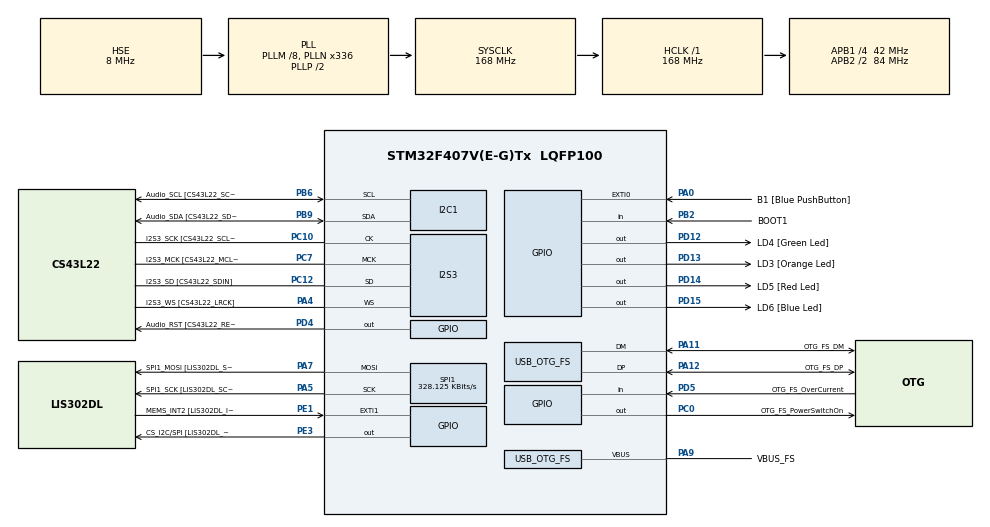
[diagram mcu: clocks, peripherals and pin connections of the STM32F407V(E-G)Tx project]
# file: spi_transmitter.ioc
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I2S3.AudioFreq-Half_Duplex_Master=I2S_AUDIOFREQ_96K
I2S3.ErrorAudioFreq=-2.34 %
I2S3.ErrorAudioFreq-Half_Duplex_Master=0.8 %
I2S3.FullDuplexMode=I2S_FULLDUPLEXMODE_DISABLE
I2S3.Instance=SPI$Index
I2S3.RealAudioFreq=93.75 KHz
I2S3.RealAudioFreq-Half_Duplex_Master=96.774 KHz
I2S3.VirtualMode=I2S_MODE_MASTER
Mcu.Family=STM32F4
Mcu.Name=STM32F407V(E-G)Tx
Mcu.Package=LQFP100
NVIC.OTG_FS_IRQn=true\:0\:0\:false\:false\:true\:true\:true
NVIC.PriorityGroup=NVIC_PRIORITYGROUP_0
NVIC.SPI1_IRQn=true\:0\:0\:false\:false\:true\:true\:true
PA0-WKUP.GPIO_Label=B1 [Blue PushButton]
PA0-WKUP.GPIO_ModeDefaultEXTI=GPIO_MODE_EVT_RISING
PA0-WKUP.GPIO_PuPd=GPIO_NOPULL
PA0-WKUP.Signal=GPXTI0
PA10.GPIO_Label=OTG_FS_ID
PA10.GPIO_Mode=GPIO_MODE_AF_PP
PA10.GPIO_PuPd=GPIO_NOPULL
PA10.GPIO_Speed=GPIO_SPEED_FREQ_LOW
PA10.Signal=USB_OTG_FS_ID
PA11.GPIO_Label=OTG_FS_DM
PA11.GPIO_Mode=GPIO_MODE_AF_PP
PA11.GPIO_PuPd=GPIO_NOPULL
PA11.GPIO_Speed=GPIO_SPEED_FREQ_LOW
PA11.Mode=Host_Only
PA11.Signal=USB_OTG_FS_DM
PA12.GPIO_Label=OTG_FS_DP
PA12.GPIO_Mode=GPIO_MODE_AF_PP
PA12.GPIO_PuPd=GPIO_NOPULL
PA12.GPIO_Speed=GPIO_SPEED_FREQ_LOW
PA12.Mode=Host_Only
PA12.Signal=USB_OTG_FS_DP
PA13.GPIO_Label=SWDIO
PA13.Mode=Serial_Wire
PA13.Signal=SYS_JTMS-SWDIO
PA14.GPIO_Label=SWCLK
PA14.Mode=Serial_Wire
PA14.Signal=SYS_JTCK-SWCLK
PA4.GPIO_Label=I2S3_WS [CS43L22_LRCK]
PA4.GPIO_Mode=GPIO_MODE_AF_PP
PA4.GPIO_PuPd=GPIO_NOPULL
PA4.GPIO_Speed=GPIO_SPEED_FREQ_LOW
PA4.Mode=Half_Duplex_Master
PA4.Signal=I2S3_WS
PA5.GPIO_Label=SPI1_SCK [LIS302DL_SCL/SPC]
PA5.GPIO_Mode=GPIO_MODE_AF_PP
PA5.GPIO_PuPd=GPIO_NOPULL
PA5.GPIO_Speed=GPIO_SPEED_FREQ_LOW
PA5.Mode=TX_Only_Simplex_Unidirect_Master
PA5.Signal=SPI1_SCK
PA6.GPIO_Label=SPI1_MISO [LIS302DL_SDO]
PA6.GPIO_Mode=GPIO_MODE_AF_PP
PA6.GPIO_PuPd=GPIO_NOPULL
PA6.GPIO_Speed=GPIO_SPEED_FREQ_LOW
PA6.Signal=SPI1_MISO
PA7.GPIO_Label=SPI1_MOSI [LIS302DL_SDA/SDI/SDO]
PA7.GPIO_Mode=GPIO_MODE_AF_PP
PA7.GPIO_PuPd=GPIO_NOPULL
PA7.GPIO_Speed=GPIO_SPEED_FREQ_LOW
PA7.Mode=TX_Only_Simplex_Unidirect_Master
PA7.Signal=SPI1_MOSI
PA9.GPIO_Label=VBUS_FS
PA9.GPIO_Mode=GPIO_MODE_INPUT
PA9.GPIO_PuPd=GPIO_NOPULL
PA9.Mode=Activate_VBUS
PA9.Signal=USB_OTG_FS_VBUS
PB10.GPIO_Label=CLK_IN [MP45DT02_CLK]
PB10.GPIO_Mode=GPIO_MODE_AF_PP
PB10.GPIO_PuPd=GPIO_NOPULL
PB10.GPIO_Speed=GPIO_SPEED_FREQ_LOW
PB10.Signal=I2S2_CK
PB2.GPIO_Label=BOOT1
PB2.GPIO_Mode=GPIO_MODE_INPUT
PB2.GPIO_PuPd=GPIO_NOPULL
PB2.Signal=GPIO_Input
PB3.GPIO_Label=SWO
PB3.Signal=SYS_JTDO-SWO
PB6.GPIO_Label=Audio_SCL [CS43L22_SCL]
PB6.GPIO_Mode=GPIO_MODE_AF_OD
PB6.GPIO_Pu=GPIO_PULLUP
PB6.GPIO_PuPd=GPIO_NOPULL
PB6.GPIO_Speed=GPIO_SPEED_FREQ_LOW
PB6.Mode=I2C
PB6.Signal=I2C1_SCL
PB9.GPIO_Label=Audio_SDA [CS43L22_SDA]
PB9.GPIO_Mode=GPIO_MODE_AF_OD
PB9.GPIO_Pu=GPIO_PULLUP
PB9.GPIO_PuPd=GPIO_NOPULL
PB9.GPIO_Speed=GPIO_SPEED_FREQ_LOW
PB9.Mode=I2C
PB9.Signal=I2C1_SDA
PC0.GPIO_Label=OTG_FS_PowerSwitchOn
PC0.GPIO_PuPd=GPIO_NOPULL
PC0.GPIO_Speed=GPIO_SPEED_FREQ_LOW
PC0.PinState=GPIO_PIN_SET
PC0.Signal=GPIO_Output
PC10.GPIO_Label=I2S3_SCK [CS43L22_SCLK]
PC10.GPIO_Mode=GPIO_MODE_AF_PP
PC10.GPIO_PuPd=GPIO_NOPULL
PC10.GPIO_Speed=GPIO_SPEED_FREQ_LOW
PC10.Mode=Half_Duplex_Master
PC10.Signal=I2S3_CK
PC12.GPIO_Label=I2S3_SD [CS43L22_SDIN]
PC12.GPIO_Mode=GPIO_MODE_AF_PP
PC12.GPIO_PuPd=GPIO_NOPULL
PC12.GPIO_Speed=GPIO_SPEED_FREQ_LOW
PC12.Mode=Half_Duplex_Master
PC12.Signal=I2S3_SD
PC14-OSC32_IN.GPIO_Label=PC14-OSC32_IN
PC14-OSC32_IN.Mode=LSE-External-Oscillator
PC14-OSC32_IN.Signal=RCC_OSC32_IN
PC15-OSC32_OUT.GPIO_Label=PC15-OSC32_OUT
PC15-OSC32_OUT.Mode=LSE-External-Oscillator
PC15-OSC32_OUT.Signal=RCC_OSC32_OUT
PC3.GPIO_Label=PDM_OUT [MP45DT02_DOUT]
PC3.GPIO_Mode=GPIO_MODE_AF_PP
PC3.GPIO_PuPd=GPIO_NOPULL
PC3.GPIO_Speed=GPIO_SPEED_FREQ_LOW
PC3.Signal=I2S2_SD
PC7.GPIO_Label=I2S3_MCK [CS43L22_MCLK]
PC7.GPIO_Mode=GPIO_MODE_AF_PP
PC7.GPIO_PuPd=GPIO_NOPULL
PC7.GPIO_Speed=GPIO_SPEED_FREQ_LOW
PC7.Mode=Master_Clock_Activated
PC7.Signal=I2S3_MCK
PD12.GPIO_Label=LD4 [Green Led]
PD12.GPIO_PuPd=GPIO_NOPULL
PD12.GPIO_Speed=GPIO_SPEED_FREQ_LOW
PD12.Signal=GPIO_Output
PD13.GPIO_Label=LD3 [Orange Led]
PD13.GPIO_PuPd=GPIO_NOPULL
PD13.GPIO_Speed=GPIO_SPEED_FREQ_LOW
PD13.Signal=GPIO_Output
PD14.GPIO_Label=LD5 [Red Led]
PD14.GPIO_PuPd=GPIO_NOPULL
PD14.GPIO_Speed=GPIO_SPEED_FREQ_LOW
PD14.Signal=GPIO_Output
PD15.GPIO_Label=LD6 [Blue Led]
PD15.GPIO_PuPd=GPIO_NOPULL
PD15.GPIO_Speed=GPIO_SPEED_FREQ_LOW
PD15.Signal=GPIO_Output
PD4.GPIO_Label=Audio_RST [CS43L22_RESET]
PD4.GPIO_PuPd=GPIO_NOPULL
PD4.GPIO_Speed=GPIO_SPEED_FREQ_LOW
PD4.Signal=GPIO_Output
PD5.GPIO_Label=OTG_FS_OverCurrent
PD5.GPIO_Mode=GPIO_MODE_INPUT
PD5.GPIO_PuPd=GPIO_NOPULL
PD5.Signal=GPIO_Input
PE1.GPIO_Label=MEMS_INT2 [LIS302DL_INT2]
PE1.GPIO_ModeDefaultEXTI=GPIO_MODE_EVT_RISING
PE1.GPIO_PuPd=GPIO_NOPULL
PE1.Signal=GPXTI1
PE3.GPIO_Label=CS_I2C/SPI [LIS302DL_CS_I2C/SPI]
PE3.GPIO_PuPd=GPIO_NOPULL
PE3.GPIO_Speed=GPIO_SPEED_FREQ_LOW
PE3.Signal=GPIO_Output
PH0-OSC_IN.GPIO_Label=PH0-OSC_IN
PH0-OSC_IN.Mode=HSE-External-Oscillator
PH0-OSC_IN.Signal=RCC_OSC_IN
PH1-OSC_OUT.GPIO_Label=PH1-OSC_OUT
PH1-OSC_OUT.Mode=HSE-External-Oscillator
PH1-OSC_OUT.Signal=RCC_OSC_OUT
ProjectManager.HeapSize=0x200
ProjectManager.StackSize=0x400
ProjectManager.TargetToolchain=MDK-ARM V5.32
RCC.48MHZClocksFreq_Value=48000000
RCC.AHBFreq_Value=168000000
RCC.APB1CLKDivider=RCC_HCLK_DIV4
RCC.APB1Freq_Value=42000000
RCC.APB1TimFreq_Value=84000000
RCC.APB2CLKDivider=RCC_HCLK_DIV2
RCC.APB2Freq_Value=84000000
RCC.APB2TimFreq_Value=168000000
RCC.CortexFreq_Value=168000000
RCC.HCLKFreq_Value=168000000
RCC.HSE_VALUE=8000000
RCC.HSI_VALUE=16000000
RCC.PLLM=8
RCC.PLLN=336
RCC.PLLQ=7
RCC.SYSCLKFreq_VALUE=168000000
RCC.SYSCLKSource=RCC_SYSCLKSOURCE_PLLCLK
RCC.VCOOutputFreq_Value=336000000
SPI1.BaudRatePrescaler=SPI_BAUDRATEPRESCALER_256
SPI1.CalculateBaudRate=328.125 KBits/s
SPI1.Direction=SPI_DIRECTION_2LINES
SPI1.Mode=SPI_MODE_MASTER
SPI1.VirtualType=VM_MASTER
USB_HOST.BSP.number=1
USB_HOST.USBH_HandleTypeDef-CDC_FS=hUsbHostFS
USB_HOST.VirtualModeFS=Cdc
USB_HOST0.BSP.STBoard=false
USB_HOST0.BSP.api=Unknown
USB_HOST0.BSP.i2caddr=0
USB_HOST0.BSP.i2creg=0
USB_HOST0.BSP.instance=PC0
USB_HOST0.BSP.ip=GPIO
USB_HOST0.BSP.mode=Output
USB_HOST0.BSP.name=Drive_VBUS_FS
USB_HOST0.BSP.solution=PC0
USB_OTG_FS.VirtualMode=Host_Only
USB_OTG_FS.phy_itface=HCD_PHY_EMBEDDED
VP_USB_HOST_VS_USB_HOST_CDC_FS.Mode=CDC_FS
board=STM32F407G-DISC1

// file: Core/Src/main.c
/* USER CODE BEGIN Header */
/**
  ******************************************************************************
  * @file           : main.c
  * @brief          : Main program body
  ******************************************************************************
  * @attention
  *
  * <h2><center>&copy; Copyright (c) 2021 STMicroelectronics.
  * All rights reserved.</center></h2>
  *
  * This software component is licensed by ST under Ultimate Liberty license
  * SLA0044, the "License"; You may not use this file except in compliance with
  * the License. You may obtain a copy of the License at:
  *                             www.st.com/SLA0044
  *
  ******************************************************************************
  */
/* USER CODE END Header */
#include "main.h"
#include "usb_host.h"

/* USER CODE BEGIN PM */

#define SPI_FREE 0
#define SPI_BUSY 1

/* USER CODE END PM */

I2C_HandleTypeDef hi2c1;

I2S_HandleTypeDef hi2s3;

SPI_HandleTypeDef hspi1;

void SystemClock_Config(void);
static void MX_GPIO_Init(void);
static void MX_I2C1_Init(void);
static void MX_I2S3_Init(void);
static void MX_SPI1_Init(void);
void MX_USB_HOST_Process(void);

/* USER CODE BEGIN 0 */

  HAL_StatusTypeDef spiTransmitStatus;

  uint8_t SPI_transmitt_array1[] = {0x01, 0x02,0x03,0x04, 0x05};

  uint8_t SPI_transmitt_array2[] = {0x06, 0x07,0x08,0x09, 0x0A};

  HAL_StatusTypeDef spiTransmitStatus;

  uint8_t spi_busy_flag  = SPI_FREE;

/* USER CODE END 0 */

int main(void)
{

  /* MCU Configuration--------------------------------------------------------*/

  /* Reset of all peripherals, Initializes the Flash interface and the Systick. */
  HAL_Init();

  /* Configure the system clock */
  SystemClock_Config();

  /* Initialize all configured peripherals */
  MX_GPIO_Init();
  MX_I2C1_Init();
  MX_I2S3_Init();
  MX_SPI1_Init();
  MX_USB_HOST_Init();

  /* Infinite loop */
  /* USER CODE BEGIN WHILE */
  while (1)
  {

		/* ****************************************************************************** */

	 HAL_Delay(500);

		spi_busy_flag  = SPI_BUSY;

		spiTransmitStatus =  HAL_SPI_Transmit_IT(&hspi1, (uint8_t *)SPI_transmitt_array1,5);

      while(spi_busy_flag == SPI_BUSY)
		   {
         HAL_Delay(1);
       }

		/* ****************************************************************************** */

		HAL_Delay(500);

		spi_busy_flag  = SPI_BUSY;

		spiTransmitStatus =  HAL_SPI_Transmit_IT(&hspi1, (uint8_t *)SPI_transmitt_array2,5);

      while(spi_busy_flag == SPI_BUSY)
		   {
         HAL_Delay(1);
       }

    /* USER CODE END WHILE */
    //MX_USB_HOST_Process();

  }
}

void SystemClock_Config(void)
{
  RCC_OscInitTypeDef RCC_OscInitStruct = {0};
  RCC_ClkInitTypeDef RCC_ClkInitStruct = {0};

  /** Configure the main internal regulator output voltage
  */
  __HAL_RCC_PWR_CLK_ENABLE();
  __HAL_PWR_VOLTAGESCALING_CONFIG(PWR_REGULATOR_VOLTAGE_SCALE1);
  /** Initializes the RCC Oscillators according to the specified parameters
  * in the RCC_OscInitTypeDef structure.
  */
  RCC_OscInitStruct.OscillatorType = RCC_OSCILLATORTYPE_HSE;
  RCC_OscInitStruct.HSEState = RCC_HSE_ON;
  RCC_OscInitStruct.PLL.PLLState = RCC_PLL_ON;
  RCC_OscInitStruct.PLL.PLLSource = RCC_PLLSOURCE_HSE;
  RCC_OscInitStruct.PLL.PLLM = 8;
  RCC_OscInitStruct.PLL.PLLN = 336;
  RCC_OscInitStruct.PLL.PLLP = RCC_PLLP_DIV2;
  RCC_OscInitStruct.PLL.PLLQ = 7;
  if (HAL_RCC_OscConfig(&RCC_OscInitStruct) != HAL_OK)
  {
    Error_Handler();
  }
  /** Initializes the CPU, AHB and APB buses clocks
  */
  RCC_ClkInitStruct.ClockType = RCC_CLOCKTYPE_HCLK|RCC_CLOCKTYPE_SYSCLK
                              |RCC_CLOCKTYPE_PCLK1|RCC_CLOCKTYPE_PCLK2;
  RCC_ClkInitStruct.SYSCLKSource = RCC_SYSCLKSOURCE_PLLCLK;
  RCC_ClkInitStruct.AHBCLKDivider = RCC_SYSCLK_DIV1;
  RCC_ClkInitStruct.APB1CLKDivider = RCC_HCLK_DIV4;
  RCC_ClkInitStruct.APB2CLKDivider = RCC_HCLK_DIV2;

  if (HAL_RCC_ClockConfig(&RCC_ClkInitStruct, FLASH_LATENCY_5) != HAL_OK)
  {
    Error_Handler();
  }
}

static void MX_I2C1_Init(void)
{

  hi2c1.Instance = I2C1;
  hi2c1.Init.ClockSpeed = 100000;
  hi2c1.Init.DutyCycle = I2C_DUTYCYCLE_2;
  hi2c1.Init.OwnAddress1 = 0;
  hi2c1.Init.AddressingMode = I2C_ADDRESSINGMODE_7BIT;
  hi2c1.Init.DualAddressMode = I2C_DUALADDRESS_DISABLE;
  hi2c1.Init.OwnAddress2 = 0;
  hi2c1.Init.GeneralCallMode = I2C_GENERALCALL_DISABLE;
  hi2c1.Init.NoStretchMode = I2C_NOSTRETCH_DISABLE;
  if (HAL_I2C_Init(&hi2c1) != HAL_OK)
  {
    Error_Handler();
  }

}

static void MX_I2S3_Init(void)
{

  hi2s3.Instance = SPI3;
  hi2s3.Init.Mode = I2S_MODE_MASTER_TX;
  hi2s3.Init.Standard = I2S_STANDARD_PHILIPS;
  hi2s3.Init.DataFormat = I2S_DATAFORMAT_16B;
  hi2s3.Init.MCLKOutput = I2S_MCLKOUTPUT_ENABLE;
  hi2s3.Init.AudioFreq = I2S_AUDIOFREQ_96K;
  hi2s3.Init.CPOL = I2S_CPOL_LOW;
  hi2s3.Init.ClockSource = I2S_CLOCK_PLL;
  hi2s3.Init.FullDuplexMode = I2S_FULLDUPLEXMODE_DISABLE;
  if (HAL_I2S_Init(&hi2s3) != HAL_OK)
  {
    Error_Handler();
  }

}

static void MX_SPI1_Init(void)
{

  /* SPI1 parameter configuration*/
  hspi1.Instance = SPI1;
  hspi1.Init.Mode = SPI_MODE_MASTER;
  hspi1.Init.Direction = SPI_DIRECTION_2LINES;
  hspi1.Init.DataSize = SPI_DATASIZE_8BIT;
  hspi1.Init.CLKPolarity = SPI_POLARITY_LOW;
  hspi1.Init.CLKPhase = SPI_PHASE_1EDGE;
  hspi1.Init.NSS = SPI_NSS_SOFT;
  hspi1.Init.BaudRatePrescaler = SPI_BAUDRATEPRESCALER_256;
  hspi1.Init.FirstBit = SPI_FIRSTBIT_MSB;
  hspi1.Init.TIMode = SPI_TIMODE_DISABLE;
  hspi1.Init.CRCCalculation = SPI_CRCCALCULATION_DISABLE;
  hspi1.Init.CRCPolynomial = 10;
  if (HAL_SPI_Init(&hspi1) != HAL_OK)
  {
    Error_Handler();
  }

}

static void MX_GPIO_Init(void)
{
  GPIO_InitTypeDef GPIO_InitStruct = {0};

  /* GPIO Ports Clock Enable */
  __HAL_RCC_GPIOE_CLK_ENABLE();
  __HAL_RCC_GPIOC_CLK_ENABLE();
  __HAL_RCC_GPIOH_CLK_ENABLE();
  __HAL_RCC_GPIOA_CLK_ENABLE();
  __HAL_RCC_GPIOB_CLK_ENABLE();
  __HAL_RCC_GPIOD_CLK_ENABLE();

  /*Configure GPIO pin Output Level */
  HAL_GPIO_WritePin(CS_I2C_SPI_GPIO_Port, CS_I2C_SPI_Pin, GPIO_PIN_RESET);

  /*Configure GPIO pin Output Level */
  HAL_GPIO_WritePin(OTG_FS_PowerSwitchOn_GPIO_Port, OTG_FS_PowerSwitchOn_Pin, GPIO_PIN_SET);

  /*Configure GPIO pin Output Level */
  HAL_GPIO_WritePin(GPIOD, LD4_Pin|LD3_Pin|LD5_Pin|LD6_Pin
                          |Audio_RST_Pin, GPIO_PIN_RESET);

  /*Configure GPIO pin : CS_I2C_SPI_Pin */
  GPIO_InitStruct.Pin = CS_I2C_SPI_Pin;
  GPIO_InitStruct.Mode = GPIO_MODE_OUTPUT_PP;
  GPIO_InitStruct.Pull = GPIO_NOPULL;
  GPIO_InitStruct.Speed = GPIO_SPEED_FREQ_LOW;
  HAL_GPIO_Init(CS_I2C_SPI_GPIO_Port, &GPIO_InitStruct);

  /*Configure GPIO pin : OTG_FS_PowerSwitchOn_Pin */
  GPIO_InitStruct.Pin = OTG_FS_PowerSwitchOn_Pin;
  GPIO_InitStruct.Mode = GPIO_MODE_OUTPUT_PP;
  GPIO_InitStruct.Pull = GPIO_NOPULL;
  GPIO_InitStruct.Speed = GPIO_SPEED_FREQ_LOW;
  HAL_GPIO_Init(OTG_FS_PowerSwitchOn_GPIO_Port, &GPIO_InitStruct);

  /*Configure GPIO pin : PDM_OUT_Pin */
  GPIO_InitStruct.Pin = PDM_OUT_Pin;
  GPIO_InitStruct.Mode = GPIO_MODE_AF_PP;
  GPIO_InitStruct.Pull = GPIO_NOPULL;
  GPIO_InitStruct.Speed = GPIO_SPEED_FREQ_LOW;
  GPIO_InitStruct.Alternate = GPIO_AF5_SPI2;
  HAL_GPIO_Init(PDM_OUT_GPIO_Port, &GPIO_InitStruct);

  /*Configure GPIO pin : B1_Pin */
  GPIO_InitStruct.Pin = B1_Pin;
  GPIO_InitStruct.Mode = GPIO_MODE_EVT_RISING;
  GPIO_InitStruct.Pull = GPIO_NOPULL;
  HAL_GPIO_Init(B1_GPIO_Port, &GPIO_InitStruct);

  /*Configure GPIO pin : BOOT1_Pin */
  GPIO_InitStruct.Pin = BOOT1_Pin;
  GPIO_InitStruct.Mode = GPIO_MODE_INPUT;
  GPIO_InitStruct.Pull = GPIO_NOPULL;
  HAL_GPIO_Init(BOOT1_GPIO_Port, &GPIO_InitStruct);

  /*Configure GPIO pin : CLK_IN_Pin */
  GPIO_InitStruct.Pin = CLK_IN_Pin;
  GPIO_InitStruct.Mode = GPIO_MODE_AF_PP;
  GPIO_InitStruct.Pull = GPIO_NOPULL;
  GPIO_InitStruct.Speed = GPIO_SPEED_FREQ_LOW;
  GPIO_InitStruct.Alternate = GPIO_AF5_SPI2;
  HAL_GPIO_Init(CLK_IN_GPIO_Port, &GPIO_InitStruct);

  /*Configure GPIO pins : LD4_Pin LD3_Pin LD5_Pin LD6_Pin
                           Audio_RST_Pin */
  GPIO_InitStruct.Pin = LD4_Pin|LD3_Pin|LD5_Pin|LD6_Pin
                          |Audio_RST_Pin;
  GPIO_InitStruct.Mode = GPIO_MODE_OUTPUT_PP;
  GPIO_InitStruct.Pull = GPIO_NOPULL;
  GPIO_InitStruct.Speed = GPIO_SPEED_FREQ_LOW;
  HAL_GPIO_Init(GPIOD, &GPIO_InitStruct);

  /*Configure GPIO pin : OTG_FS_OverCurrent_Pin */
  GPIO_InitStruct.Pin = OTG_FS_OverCurrent_Pin;
  GPIO_InitStruct.Mode = GPIO_MODE_INPUT;
  GPIO_InitStruct.Pull = GPIO_NOPULL;
  HAL_GPIO_Init(OTG_FS_OverCurrent_GPIO_Port, &GPIO_InitStruct);

  /*Configure GPIO pin : MEMS_INT2_Pin */
  GPIO_InitStruct.Pin = MEMS_INT2_Pin;
  GPIO_InitStruct.Mode = GPIO_MODE_EVT_RISING;
  GPIO_InitStruct.Pull = GPIO_NOPULL;
  HAL_GPIO_Init(MEMS_INT2_GPIO_Port, &GPIO_InitStruct);

}

/* USER CODE BEGIN 4 */

void HAL_SPI_TxCpltCallback(SPI_HandleTypeDef *hspi)
{
  if(hspi == &hspi1)
  {
    if(hspi1.TxXferCount==0)
    {

      spi_busy_flag  = SPI_FREE;
    }
  }
}

/* USER CODE END 4 */

void Error_Handler(void)
{
  __disable_irq();
  while (1)
  {
  }
}

/************************ (C) COPYRIGHT STMicroelectronics *****END OF FILE****/
